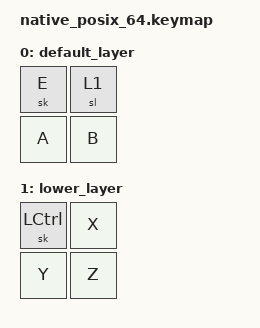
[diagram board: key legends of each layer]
#include <dt-bindings/zmk/keys.h>
#include <behaviors.dtsi>
#include <dt-bindings/zmk/kscan_mock.h>
#include "../behavior_keymap.dtsi"

/* This test ensures that sticky keys remain active until they're released. */

/ {
    keymap {
        compatible = "zmk,keymap";
        label ="Default keymap";

        default_layer {
            bindings = <
                &sk E &sl 1
                &kp A &kp B>;
        };

        lower_layer {
            bindings = <
                &sk LEFT_CONTROL &kp X
                &kp Y  &kp Z>;
        };
    };
};

&kscan {
    events = <
        // Hold &sk E past release-after-ms
        ZMK_MOCK_PRESS(0,0,1200)
        // Tap &kp A twice
        ZMK_MOCK_PRESS(1,0,10)
        ZMK_MOCK_RELEASE(1,0,10)
        ZMK_MOCK_PRESS(1,0,10)
        ZMK_MOCK_RELEASE(1,0,10)
        // Release &sk E
        ZMK_MOCK_RELEASE(0,0,10)
        // &sk E should now be deactivated

        // Hold &sl 1 past release-after-ms
        ZMK_MOCK_PRESS(0,1,1200)
        // Tap &kp Y twice
        ZMK_MOCK_PRESS(1,0,10)
        ZMK_MOCK_RELEASE(1,0,10)
        ZMK_MOCK_PRESS(1,0,10)
        ZMK_MOCK_RELEASE(1,0,10)
        // Release &sl 1
        ZMK_MOCK_RELEASE(0,1,10)
        // &sl 1 should now be deactivated
    >;
};
